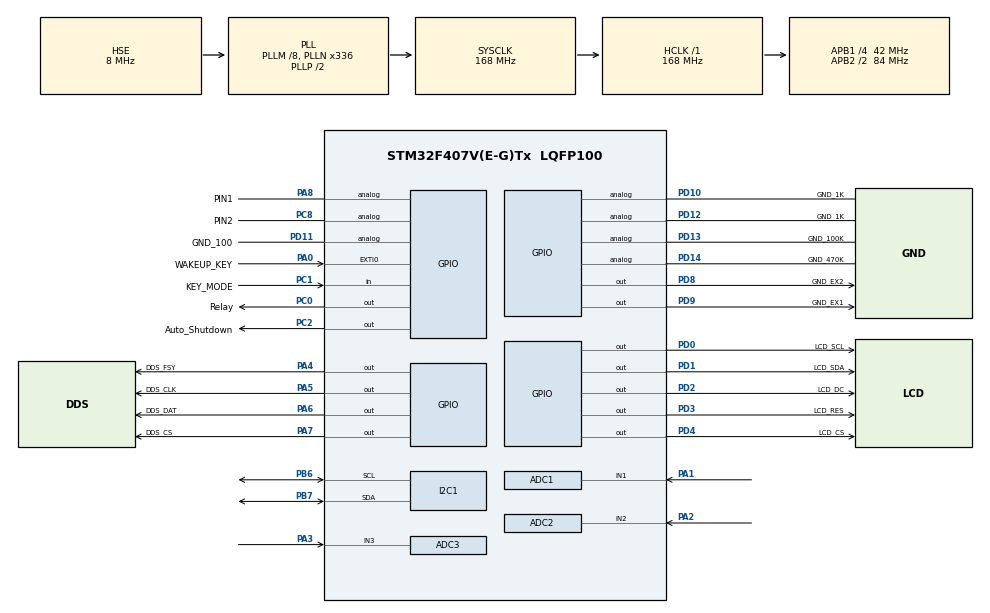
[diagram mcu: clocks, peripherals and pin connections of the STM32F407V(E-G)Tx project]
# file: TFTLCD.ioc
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ADC1.Channel-1\#ChannelRegularConversion=ADC_CHANNEL_1
ADC1.ContinuousConvMode=DISABLE
ADC1.DMAContinuousRequests=ENABLE
ADC1.ExternalTrigConv=ADC_EXTERNALTRIGCONV_T2_TRGO
ADC1.InjNumberOfConversion=0
ADC1.Mode=__NULL
ADC1.NbrOfConversion=1
ADC1.NbrOfConversionFlag=1
ADC1.Rank-1\#ChannelRegularConversion=1
ADC1.SamplingTime-1\#ChannelRegularConversion=ADC_SAMPLETIME_480CYCLES
ADC1.ScanConvMode=DISABLE
ADC1.master=1
ADC2.Channel-0\#ChannelRegularConversion=ADC_CHANNEL_2
ADC2.ClockPrescaler=ADC_CLOCK_SYNC_PCLK_DIV4
ADC2.DMAContinuousRequests=ENABLE
ADC2.ExternalTrigConv=ADC_EXTERNALTRIGCONV_T2_TRGO
ADC2.InjNumberOfConversion=0
ADC2.NbrOfConversion=1
ADC2.NbrOfConversionFlag=1
ADC2.Rank-0\#ChannelRegularConversion=1
ADC2.SamplingTime-0\#ChannelRegularConversion=ADC_SAMPLETIME_480CYCLES
ADC2.ScanConvMode=DISABLE
ADC3.Channel-1\#ChannelRegularConversion=ADC_CHANNEL_3
ADC3.DMAContinuousRequests=ENABLE
ADC3.ExternalTrigConv=ADC_EXTERNALTRIGCONV_T2_TRGO
ADC3.NbrOfConversionFlag=1
ADC3.Rank-1\#ChannelRegularConversion=1
ADC3.SamplingTime-1\#ChannelRegularConversion=ADC_SAMPLETIME_480CYCLES
Dma.ADC1.1.Direction=DMA_PERIPH_TO_MEMORY
Dma.ADC1.1.FIFOMode=DMA_FIFOMODE_DISABLE
Dma.ADC1.1.Instance=DMA2_Stream0
Dma.ADC1.1.MemDataAlignment=DMA_MDATAALIGN_HALFWORD
Dma.ADC1.1.MemInc=DMA_MINC_ENABLE
Dma.ADC1.1.Mode=DMA_CIRCULAR
Dma.ADC1.1.PeriphDataAlignment=DMA_PDATAALIGN_HALFWORD
Dma.ADC1.1.PeriphInc=DMA_PINC_DISABLE
Dma.ADC1.1.Priority=DMA_PRIORITY_VERY_HIGH
Dma.ADC2.0.Direction=DMA_PERIPH_TO_MEMORY
Dma.ADC2.0.FIFOMode=DMA_FIFOMODE_DISABLE
Dma.ADC2.0.Instance=DMA2_Stream2
Dma.ADC2.0.MemDataAlignment=DMA_MDATAALIGN_HALFWORD
Dma.ADC2.0.MemInc=DMA_MINC_ENABLE
Dma.ADC2.0.Mode=DMA_CIRCULAR
Dma.ADC2.0.PeriphDataAlignment=DMA_PDATAALIGN_HALFWORD
Dma.ADC2.0.PeriphInc=DMA_PINC_DISABLE
Dma.ADC2.0.Priority=DMA_PRIORITY_VERY_HIGH
Dma.ADC3.2.Direction=DMA_PERIPH_TO_MEMORY
Dma.ADC3.2.FIFOMode=DMA_FIFOMODE_DISABLE
Dma.ADC3.2.Instance=DMA2_Stream1
Dma.ADC3.2.MemDataAlignment=DMA_MDATAALIGN_HALFWORD
Dma.ADC3.2.MemInc=DMA_MINC_ENABLE
Dma.ADC3.2.Mode=DMA_CIRCULAR
Dma.ADC3.2.PeriphDataAlignment=DMA_PDATAALIGN_HALFWORD
Dma.ADC3.2.PeriphInc=DMA_PINC_DISABLE
Dma.ADC3.2.Priority=DMA_PRIORITY_VERY_HIGH
Dma.Request0=ADC2
Dma.Request1=ADC1
Dma.Request2=ADC3
Mcu.Family=STM32F4
Mcu.Name=STM32F407V(E-G)Tx
Mcu.Package=LQFP100
NVIC.ADC_IRQn=true\:0\:0\:false\:false\:true\:true\:true\:true
NVIC.DMA2_Stream0_IRQn=true\:0\:0\:false\:false\:true\:false\:true\:true
NVIC.DMA2_Stream1_IRQn=true\:0\:0\:false\:false\:true\:false\:true\:true
NVIC.DMA2_Stream2_IRQn=true\:0\:0\:false\:false\:true\:false\:true\:true
NVIC.EXTI0_IRQn=true\:0\:0\:false\:false\:true\:true\:true\:true
NVIC.PriorityGroup=NVIC_PRIORITYGROUP_4
PA0-WKUP.GPIO_Label=WAKEUP_KEY
PA0-WKUP.GPIO_ModeDefaultEXTI=GPIO_MODE_IT_FALLING
PA0-WKUP.GPIO_PuPd=GPIO_PULLUP
PA0-WKUP.Signal=GPXTI0
PA1.Signal=ADCx_IN1
PA13.Mode=Serial_Wire
PA13.Signal=SYS_JTMS-SWDIO
PA14.Mode=Serial_Wire
PA14.Signal=SYS_JTCK-SWCLK
PA2.Signal=ADCx_IN2
PA3.Signal=ADCx_IN3
PA4.GPIO_Label=DDS_FSY
PA4.GPIO_PuPd=GPIO_PULLDOWN
PA4.PinState=GPIO_PIN_RESET
PA4.Signal=GPIO_Output
PA5.GPIO_Label=DDS_CLK
PA5.GPIO_ModeDefaultOutputPP=GPIO_MODE_OUTPUT_PP
PA5.GPIO_PuPd=GPIO_PULLDOWN
PA5.Signal=GPIO_Output
PA6.GPIO_Label=DDS_DAT
PA6.Signal=GPIO_Output
PA7.GPIO_Label=DDS_CS
PA7.Signal=GPIO_Output
PA8.GPIO_Label=PIN1
PA8.Signal=GPIO_Analog
PB6.Mode=I2C
PB6.Signal=I2C1_SCL
PB7.Mode=I2C
PB7.Signal=I2C1_SDA
PC0.GPIO_Label=Relay
PC0.GPIO_PuPd=GPIO_NOPULL
PC0.GPIO_Speed=GPIO_SPEED_FREQ_MEDIUM
PC0.PinState=GPIO_PIN_RESET
PC0.Signal=GPIO_Output
PC1.GPIO_Label=KEY_MODE
PC1.GPIO_PuPd=GPIO_PULLUP
PC1.Signal=GPIO_Input
PC14-OSC32_IN.Mode=LSE-External-Oscillator
PC14-OSC32_IN.Signal=RCC_OSC32_IN
PC15-OSC32_OUT.Mode=LSE-External-Oscillator
PC15-OSC32_OUT.Signal=RCC_OSC32_OUT
PC2.GPIO_Label=Auto_Shutdown
PC2.GPIO_ModeDefaultOutputPP=GPIO_MODE_OUTPUT_PP
PC2.GPIO_PuPd=GPIO_NOPULL
PC2.GPIO_Speed=GPIO_SPEED_FREQ_LOW
PC2.PinState=GPIO_PIN_RESET
PC2.Signal=GPIO_Output
PC8.GPIO_Label=PIN2
PC8.Signal=GPIO_Analog
PD0.GPIO_Label=LCD_SCL
PD0.GPIO_Speed=GPIO_SPEED_FREQ_VERY_HIGH
PD0.Signal=GPIO_Output
PD1.GPIO_Label=LCD_SDA
PD1.GPIO_Speed=GPIO_SPEED_FREQ_VERY_HIGH
PD1.Signal=GPIO_Output
PD10.GPIO_Label=GND_1K
PD10.Signal=GPIO_Analog
PD11.GPIO_Label=GND_100
PD11.Signal=GPIO_Analog
PD12.GPIO_Label=GND_1K
PD12.Signal=GPIO_Analog
PD13.GPIO_Label=GND_100K
PD13.Signal=GPIO_Analog
PD14.GPIO_Label=GND_470K
PD14.Signal=GPIO_Analog
PD2.GPIO_Label=LCD_DC
PD2.GPIO_Speed=GPIO_SPEED_FREQ_VERY_HIGH
PD2.Signal=GPIO_Output
PD3.GPIO_Label=LCD_RES
PD3.GPIO_Speed=GPIO_SPEED_FREQ_VERY_HIGH
PD3.Signal=GPIO_Output
PD4.GPIO_Label=LCD_CS
PD4.GPIO_Speed=GPIO_SPEED_FREQ_VERY_HIGH
PD4.Signal=GPIO_Output
PD8.GPIO_Label=GND_EX2
PD8.Signal=GPIO_Output
PD9.GPIO_Label=GND_EX1
PD9.Signal=GPIO_Output
PH0-OSC_IN.Mode=HSE-External-Oscillator
PH0-OSC_IN.Signal=RCC_OSC_IN
PH1-OSC_OUT.Mode=HSE-External-Oscillator
PH1-OSC_OUT.Signal=RCC_OSC_OUT
ProjectManager.HeapSize=0x200
ProjectManager.StackSize=0x400
ProjectManager.TargetToolchain=MDK-ARM V5
RCC.48MHZClocksFreq_Value=84000000
RCC.AHBFreq_Value=168000000
RCC.APB1CLKDivider=RCC_HCLK_DIV4
RCC.APB1Freq_Value=42000000
RCC.APB1TimFreq_Value=84000000
RCC.APB2CLKDivider=RCC_HCLK_DIV2
RCC.APB2Freq_Value=84000000
RCC.APB2TimFreq_Value=168000000
RCC.CortexFreq_Value=168000000
RCC.EnbaleCSS=true
RCC.HCLKFreq_Value=168000000
RCC.HSE_VALUE=8000000
RCC.HSI_VALUE=16000000
RCC.PLLM=8
RCC.PLLN=336
RCC.PLLSourceVirtual=RCC_PLLSOURCE_HSE
RCC.SYSCLKFreq_VALUE=168000000
RCC.SYSCLKSource=RCC_SYSCLKSOURCE_PLLCLK
RCC.VCOOutputFreq_Value=336000000
SH.ADCx_IN1.0=ADC1_IN1,IN1
SH.ADCx_IN2.0=ADC2_IN2,IN2
SH.ADCx_IN3.0=ADC3_IN3,IN3
TIM2.AutoReloadPreload=TIM_AUTORELOAD_PRELOAD_ENABLE
TIM2.Period=1
TIM2.Prescaler=0
TIM2.TIM_MasterOutputTrigger=TIM_TRGO_UPDATE
VP_TIM2_VS_ClockSourceINT.Mode=Internal
board=custom

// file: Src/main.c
/* USER CODE BEGIN Header */
/**
  ******************************************************************************
  * @file           : main.c
  * @brief          : Main program body
  ******************************************************************************
  * @attention
  *
  * <h2><center>&copy; Copyright (c) 2021 STMicroelectronics.
  * All rights reserved.</center></h2>
  *
  * This software component is licensed by ST under BSD 3-Clause license,
  * the "License"; You may not use this file except in compliance with the
  * License. You may obtain a copy of the License at:
  *                        opensource.org/licenses/BSD-3-Clause
  *
  ******************************************************************************
  */
  //电路黑箱测试仪   YoungOneOne   2025.7.16

/* USER CODE END Header */
#include "main.h"
#include "adc.h"
#include "dma.h"
#include "i2c.h"
#include "tim.h"
#include "gpio.h"

/* USER CODE BEGIN Includes */
#include "lcd_driver.h"
#include "gui.h"
#include "ad9833.h"
#include <stdio.h>
#include "adc_fft_rms.h"
#include "black_box.h"
#include "font96.h"
#include "oled.h"
#include "extend.h"
#include "stm32f4xx_hal.h"
/* USER CODE END Includes */

/* USER CODE BEGIN PTD */
uint16_t adc_buffer1[ADC_BUFFER_SIZE]; // ADC1通道数据
uint16_t adc_buffer2[ADC_BUFFER_SIZE]; // ADC2通道数据
uint16_t adc_buffer3[ADC_BUFFER_SIZE]; // ADC3通道数据
/* USER CODE END PTD */

/* USER CODE BEGIN PV */
static volatile uint8_t measure_flag = 0;
static GPIO_PinState last_dip_state = GPIO_PIN_RESET; // 记录上一次的拨码开关状态

volatile uint32_t idle_ms = 0;      // 无操作计时（毫秒）
volatile uint8_t user_active = 1;   // 1=有操作，0=无操作
volatile uint8_t trigger_pulse = 0; // 触发IO拉高标志

volatile uint8_t key_pending = 0;
volatile uint32_t key_time = 0;
#define DEBOUNCE_TIME 10  // 10ms消抖时间

/* USER CODE END PV */

void SystemClock_Config(void);

/* USER CODE BEGIN 0 */

float voltage1 = 0.0f, voltage2 = 0.0f, voltage3 = 0.0f;
float rms1 = 0.0f, rms2 = 0.0f, rms3 = 0.0f;  // 添加 RMS 变量

void UpdateModeDisplay(GPIO_PinState mode)
{
    OLED_NewFrame();
    OLED_DrawLine(64, 1, 64, 42, OLED_COLOR_NORMAL);
    OLED_DrawLine(0, 42, 127, 42, OLED_COLOR_NORMAL);
//  模式菜单显示逻辑：选中的模式使用反色显示，模拟光标选中
    if (mode == GPIO_PIN_RESET) {
        OLED_PrintString(82, 5, "元件", &font16x16, OLED_COLOR_REVERSED);
        OLED_PrintString(82, 21, "模式", &font16x16, OLED_COLOR_REVERSED);
        OLED_PrintString(15, 5, "黑箱", &font16x16, OLED_COLOR_NORMAL);
        OLED_PrintString(15, 21, "模式", &font16x16, OLED_COLOR_NORMAL);
    } else {
        OLED_PrintString(15, 5, "黑箱", &font16x16, OLED_COLOR_REVERSED);
        OLED_PrintString(15, 21, "模式", &font16x16, OLED_COLOR_REVERSED);
        OLED_PrintString(82, 5, "元件", &font16x16, OLED_COLOR_NORMAL);
        OLED_PrintString(82, 21, "模式", &font16x16, OLED_COLOR_NORMAL);
    }

    OLED_PrintString(8, 47, "按下按键进行测量", &font14x14, OLED_COLOR_NORMAL);
    OLED_ShowFrame();
}
/* USER CODE END 0 */

int main(void)
{
  /* USER CODE BEGIN 1 */
	GPIO_SwitchMode(GPIOC, GPIO_PIN_2, Floating);
  /* USER CODE END 1 */

  /* MCU Configuration--------------------------------------------------------*/

  /* Reset of all peripherals, Initializes the Flash interface and the Systick. */
  HAL_Init();

  /* Configure the system clock */
  SystemClock_Config();

  /* Initialize all configured peripherals */
  MX_GPIO_Init();
  MX_DMA_Init();
  MX_ADC1_Init();
  MX_ADC2_Init();
  MX_ADC3_Init();
  MX_TIM2_Init();
  MX_I2C1_Init();
  /* USER CODE BEGIN 2 */
	HAL_Delay(20);         //上电延时20ms
	Lcd_Init();            //LCD初始化
	Lcd_Clear(BLACK);      // 清屏：白色

	HAL_Delay(20);
	OLED_Init();			// OLED初始化

    AD9833_GPIO_Init();    //AD9833初始化
    AD9833_WaveSeting(000, 0, SIN_WAVE, 0);  // 设置频率为000Hz，波形为正弦波
    AD9833_AmpSet(200);              // 设置AD9833输出幅度

//  AD9833_Enable();	// 设置幅度，1~255
//	AD9833_Disable();   // 暂停输出

	HAL_TIM_Base_Start(&htim2);      //启动定时器TIM2，用于触发ADC采样

	//启动三个ADC
	HAL_ADC_Start(&hadc1);
	HAL_ADC_Start(&hadc2);
	HAL_ADC_Start(&hadc3);

	// 启动三个ADC的DMA转换
    HAL_ADC_Start_DMA(&hadc1, (uint32_t*)adc_buffer1, ADC_BUFFER_SIZE);
    HAL_ADC_Start_DMA(&hadc2, (uint32_t*)adc_buffer2, ADC_BUFFER_SIZE);
	HAL_ADC_Start_DMA(&hadc3, (uint32_t*)adc_buffer3, ADC_BUFFER_SIZE);

	//开机显示信息
	OLED_NewFrame();
	OLED_PrintString( 20 , 8  , "电路黑箱" , &font20x20 , OLED_COLOR_NORMAL);
	OLED_PrintString( 30 , 35 , "测试仪" , &font20x20 , OLED_COLOR_NORMAL);
	OLED_ShowFrame();
	HAL_Delay(1250);
	OLED_NewFrame();
	OLED_PrintString( 6 , 4 , "YoungOneOne" , &font16x16 , OLED_COLOR_NORMAL);
	OLED_PrintString( 6 , 22 , "Member B:YYYY" , &font16x16 , OLED_COLOR_NORMAL);
	OLED_PrintString( 6 , 40 , "Member C:ZZZZ" , &font16x16 , OLED_COLOR_NORMAL);
	OLED_ShowFrame();
    HAL_Delay(750);

	uint8_t need_refresh = 1;  // 是否需要刷新显示
	GPIO_PinState last_dip_state = GPIO_PIN_RESET;

	idle_ms = 0;

	 UpdateModeDisplay(GPIO_PIN_RESET);  // 开机初始化显示

  /* USER CODE END 2 */

  /* Infinite loop */
  /* USER CODE BEGIN WHILE */
  while (1)
  {

 /* 关机逻辑：30秒无操作自动关机 */
    if (trigger_pulse) {
		GPIO_Mode_Init();
        trigger_pulse = 0;
		OLED_NewFrame();
		OLED_PrintString( 3 , 26 , "三秒后将自动关机..." , &font13x13 , OLED_COLOR_NORMAL);
		OLED_ShowFrame();
        GPIO_SwitchMode(GPIOA, GPIO_PIN_0, Low);
        HAL_Delay(1000);
		HAL_Delay(1000);
		OLED_NewFrame();
		OLED_PrintASCIIString(24, 23,"Bye Bye !!!", &afont16x8, OLED_COLOR_NORMAL);
		OLED_ShowFrame();
		HAL_Delay(2000);
        GPIO_SwitchMode(GPIOA, GPIO_PIN_0, Floating);  // 拉低PA0三秒，模拟手动按下按键，触发开关机芯片关机

    }
	// 中断回调函数中不能使用延时消抖，造成阻塞，在主循环中进行消抖
if (key_pending) {
    if (HAL_GetTick() - key_time >= DEBOUNCE_TIME) {
        if (HAL_GPIO_ReadPin(GPIOA, GPIO_PIN_0) == GPIO_PIN_RESET) {
            measure_flag = 1;  // 真正确认按下有效
        }
        key_pending = 0;
    }
}

    // 检测拨码开关变化
        GPIO_PinState current_dip_state = HAL_GPIO_ReadPin(GPIOC, GPIO_PIN_1);
        if (current_dip_state != last_dip_state) {
            trigger_pulse = 0;
            idle_ms = 0;
            last_dip_state = current_dip_state;
            need_refresh = 1;  // 触发刷新
        }

        // 检测按键按下触发测量
        if (measure_flag) {
            measure_flag = 0;
            trigger_pulse = 0;
            idle_ms = 0;

            OLED_NewFrame();
            OLED_PrintString(10, 28, "测量中,请稍候...", &font14x14, OLED_COLOR_NORMAL);
            OLED_ShowFrame();

            if (current_dip_state == GPIO_PIN_RESET) {
                HAL_Delay(20);
                TwoTerminalComponent();  // 元件模式
                HAL_Delay(500);
            } else {
                OLED_NewFrame();
                GPIO_Mode_Init();
                HAL_Delay(50);
//                Lcd_Init();
//                Lcd_Clear(WHITE);
                GPIO_SwitchMode(GPIOC, GPIO_PIN_0, High);  //打开继电器，接入AD9833
                MeasureFrequencyResponse(18);  // 黑箱模式，括号内为扫频点数
                GPIO_SwitchMode(GPIOC, GPIO_PIN_0, Low);    ////关闭继电器，断开AD9833
                HAL_Delay(500);
            }
			idle_ms = 0;
            need_refresh = 0;  // 测量完成后保持结果，不刷新界面
        }

        // 界面刷新逻辑：测量完成后保持显示，切换模式或按下按键再刷新屏幕
        if (need_refresh) {
            UpdateModeDisplay(current_dip_state);
            need_refresh = 0;
			idle_ms = 0;
        }

        HAL_Delay(10);

    /* USER CODE END WHILE */

  }
}

void SystemClock_Config(void)
{
  RCC_OscInitTypeDef RCC_OscInitStruct = {0};
  RCC_ClkInitTypeDef RCC_ClkInitStruct = {0};

  /** Configure the main internal regulator output voltage
  */
  __HAL_RCC_PWR_CLK_ENABLE();
  __HAL_PWR_VOLTAGESCALING_CONFIG(PWR_REGULATOR_VOLTAGE_SCALE1);
  /** Initializes the RCC Oscillators according to the specified parameters
  * in the RCC_OscInitTypeDef structure.
  */
  RCC_OscInitStruct.OscillatorType = RCC_OSCILLATORTYPE_HSE;
  RCC_OscInitStruct.HSEState = RCC_HSE_ON;
  RCC_OscInitStruct.PLL.PLLState = RCC_PLL_ON;
  RCC_OscInitStruct.PLL.PLLSource = RCC_PLLSOURCE_HSE;
  RCC_OscInitStruct.PLL.PLLM = 8;
  RCC_OscInitStruct.PLL.PLLN = 336;
  RCC_OscInitStruct.PLL.PLLP = RCC_PLLP_DIV2;
  RCC_OscInitStruct.PLL.PLLQ = 4;
  if (HAL_RCC_OscConfig(&RCC_OscInitStruct) != HAL_OK)
  {
    Error_Handler();
  }
  /** Initializes the CPU, AHB and APB buses clocks
  */
  RCC_ClkInitStruct.ClockType = RCC_CLOCKTYPE_HCLK|RCC_CLOCKTYPE_SYSCLK
                              |RCC_CLOCKTYPE_PCLK1|RCC_CLOCKTYPE_PCLK2;
  RCC_ClkInitStruct.SYSCLKSource = RCC_SYSCLKSOURCE_PLLCLK;
  RCC_ClkInitStruct.AHBCLKDivider = RCC_SYSCLK_DIV1;
  RCC_ClkInitStruct.APB1CLKDivider = RCC_HCLK_DIV4;
  RCC_ClkInitStruct.APB2CLKDivider = RCC_HCLK_DIV2;

  if (HAL_RCC_ClockConfig(&RCC_ClkInitStruct, FLASH_LATENCY_5) != HAL_OK)
  {
    Error_Handler();
  }
  /** Enables the Clock Security System
  */
  HAL_RCC_EnableCSS();
}

/* USER CODE BEGIN 4 */

void HAL_GPIO_EXTI_Callback(uint16_t GPIO_Pin) {
    if (GPIO_Pin == GPIO_PIN_0) {
        if (HAL_GPIO_ReadPin(GPIOA, GPIO_PIN_0) == GPIO_PIN_RESET) {
            key_pending = 1;
            key_time = HAL_GetTick();  // 记录时间戳
        }
    }
}

/* USER CODE END 4 */

void Error_Handler(void)
{
  __disable_irq();
  while (1)
  {
  }
}

/************************ (C) COPYRIGHT STMicroelectronics *****END OF FILE****/
